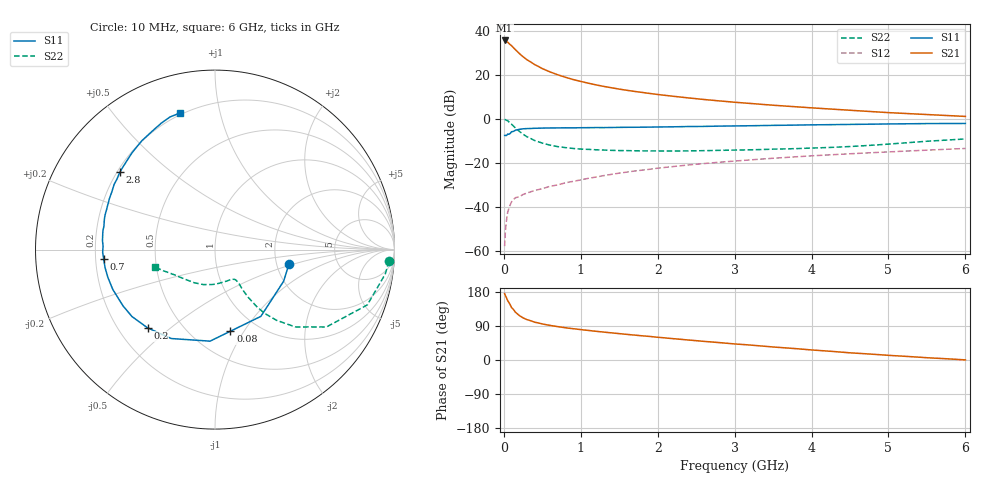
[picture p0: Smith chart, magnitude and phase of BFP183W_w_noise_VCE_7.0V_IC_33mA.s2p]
! Infineon Technologies  Discrete & RF Semiconductors
! BFP183W
! VCE =  7.0 V,  IC =  33 mA
! Common Emitter S-Parameters:  Jan 2017
# GHz  S  MA  R  50
!  f  S11  S21  S12  S22
! GHz  MAG  ANG  MAG  ANG  MAG  ANG  MAG  ANG
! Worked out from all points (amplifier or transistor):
!   77 points, 10 MHz to 6 GHz, reference 50 ohm
!   highest |S21| = 35.5 dB at 10 MHz (marker M1)
!   |S21| within 3 dB of that: start of sweep to 117.3 MHz
!   unconditionally stable (mu >= 1): 892.2 MHz to 3.365 GHz
!   at 130 MHz: K = 0.31, MSG = 34.3 dB, |S12| = -36.5 dB
!   at 2.2 GHz: K = 1.06, MAG = 14.4 dB, |S12| = -21.6 dB
!   at 6 GHz: K = 0.86, MSG = 7.3 dB, |S12| = -13.4 dB
!   lowest NFmin = 1.47 dB at 450 MHz
!   S11 on the Smith chart (normalised r, x): 10 MHz: 2.35, -0.44; 80 MHz: 0.75, -0.87; 200 MHz: 0.32, -0.42; 700 MHz: 0.23, -0.04; 2.8 GHz: 0.21, +0.34; 6 GHz: 0.19, +0.76
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0.01  0.4202 -10.7  59.7 175.2  0.0013 100.7  0.9714 -3.8
0.02  0.421 -24.7  58.58 170.0  0.0028 96.6  0.9585 -8.1
0.05  0.4513 -55.5  54.66 156.7  0.0076 72.2  0.9033 -19.9
0.08  0.4629 -79.3  48.5 146.7  0.0109 63.4  0.808 -28.2
0.1  0.5109 -93.1  45.4 138.6  0.0131 60.0  0.7558 -34.8
0.15  0.5521 -116.2  36.93 126.3  0.0163 53.9  0.6215 -43.9
0.2  0.5755 -130.8  30.36 117.5  0.0171 50.1  0.5217 -49.0
0.25  0.5942 -141.1  25.53 111.2  0.0193 50.0  0.448 -52.2
0.3  0.6008 -148.6  21.87 106.6  0.0208 48.3  0.3932 -53.8
0.4  0.6112 -158.7  16.97 99.8  0.0237 50.6  0.3228 -55.2
0.5  0.6168 -165.6  13.75 95.1  0.0261 53.0  0.2813 -55.4
0.6  0.6207 -170.8  11.59 91.3  0.0295 53.8  0.2532 -55.2
0.7  0.622 -175.0  9.962 88.1  0.0318 56.4  0.2343 -54.8
0.9  0.6238 178.3  7.779 82.6  0.0382 59.7  0.2132 -55.2
1.1  0.6307 172.9  6.407 78.0  0.0449 61.9  0.203 -56.0
1.5  0.6403 164.0  4.713 69.6  0.0588 63.1  0.1907 -60.3
2.1  0.6558 152.4  3.402 58.2  0.0794 61.9  0.1866 -72.1
2.8  0.6835 140.9  2.548 45.9  0.1038 59.2  0.193 -90.3
3.1  0.6931 136.3  2.304 41.0  0.1137 57.4  0.1968 -98.3
4.1  0.7331 122.8  1.729 25.1  0.1481 51.6  0.2202 -124.9
5.1  0.7679 112.2  1.355 11.1  0.1813 45.3  0.2753 -150.5
6  0.7858 104.4  1.133 0.3  0.2129 39.1  0.3496 -163.9
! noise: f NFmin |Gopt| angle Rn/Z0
0.45  1.47  0.28  -179  0.1
0.9  1.51  0.31  -177  0.1
1.9  2  0.46  -156  0.11
2.4  2.24  0.51  -151  0.16
